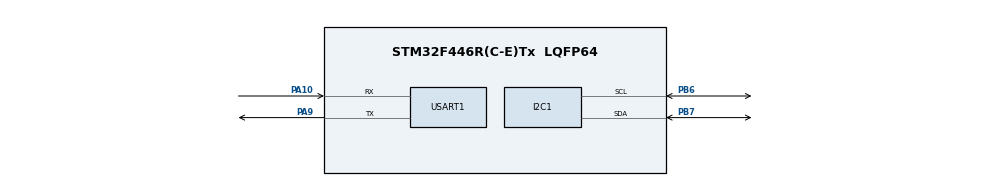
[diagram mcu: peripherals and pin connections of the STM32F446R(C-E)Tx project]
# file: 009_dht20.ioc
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Dma.I2C1_RX.0.Direction=DMA_PERIPH_TO_MEMORY
Dma.I2C1_RX.0.FIFOMode=DMA_FIFOMODE_DISABLE
Dma.I2C1_RX.0.Instance=DMA1_Stream0
Dma.I2C1_RX.0.MemDataAlignment=DMA_MDATAALIGN_BYTE
Dma.I2C1_RX.0.MemInc=DMA_MINC_ENABLE
Dma.I2C1_RX.0.Mode=DMA_NORMAL
Dma.I2C1_RX.0.PeriphDataAlignment=DMA_PDATAALIGN_BYTE
Dma.I2C1_RX.0.PeriphInc=DMA_PINC_DISABLE
Dma.I2C1_RX.0.Priority=DMA_PRIORITY_LOW
Dma.I2C1_TX.1.Direction=DMA_MEMORY_TO_PERIPH
Dma.I2C1_TX.1.FIFOMode=DMA_FIFOMODE_DISABLE
Dma.I2C1_TX.1.Instance=DMA1_Stream6
Dma.I2C1_TX.1.MemDataAlignment=DMA_MDATAALIGN_BYTE
Dma.I2C1_TX.1.MemInc=DMA_MINC_ENABLE
Dma.I2C1_TX.1.Mode=DMA_NORMAL
Dma.I2C1_TX.1.PeriphDataAlignment=DMA_PDATAALIGN_BYTE
Dma.I2C1_TX.1.PeriphInc=DMA_PINC_DISABLE
Dma.I2C1_TX.1.Priority=DMA_PRIORITY_LOW
Dma.Request0=I2C1_RX
Dma.Request1=I2C1_TX
Mcu.Family=STM32F4
Mcu.Name=STM32F446R(C-E)Tx
Mcu.Package=LQFP64
NVIC.DMA1_Stream0_IRQn=true\:0\:0\:false\:false\:true\:false\:true\:true
NVIC.DMA1_Stream6_IRQn=true\:0\:0\:false\:false\:true\:false\:true\:true
NVIC.I2C1_ER_IRQn=true\:0\:0\:false\:false\:true\:true\:true\:true
NVIC.I2C1_EV_IRQn=true\:0\:0\:false\:false\:true\:true\:true\:true
NVIC.PriorityGroup=NVIC_PRIORITYGROUP_4
NVIC.USART1_IRQn=true\:0\:0\:false\:false\:true\:true\:true\:true
PA10.Mode=Asynchronous
PA10.Signal=USART1_RX
PA9.Mode=Asynchronous
PA9.Signal=USART1_TX
PB6.Mode=I2C
PB6.Signal=I2C1_SCL
PB7.Mode=I2C
PB7.Signal=I2C1_SDA
ProjectManager.HeapSize=0x200
ProjectManager.StackSize=0x400
ProjectManager.TargetToolchain=STM32CubeIDE
RCC.CortexFreq_Value=16000000
RCC.USBFreq_Value=96000000
RCC.VCOOutputFreq_Value=192000000
USART1.VirtualMode=VM_ASYNC
board=custom

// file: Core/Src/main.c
/* USER CODE BEGIN Header */
/**
  ******************************************************************************
  * @file           : main.c
  * @brief          : Main program body
  ******************************************************************************
  * @attention
  *
  * Copyright (c) 2025 STMicroelectronics.
  * All rights reserved.
  *
  * This software is licensed under terms that can be found in the LICENSE file
  * in the root directory of this software component.
  * If no LICENSE file comes with this software, it is provided AS-IS.
  *
  ******************************************************************************
  */
/* USER CODE END Header */
#include "main.h"

/* USER CODE BEGIN Includes */
#include "driver_dht20.h"
#include "driver_dht20_interface.h"
/* USER CODE END Includes */

I2C_HandleTypeDef hi2c1;
DMA_HandleTypeDef hdma_i2c1_rx;
DMA_HandleTypeDef hdma_i2c1_tx;

UART_HandleTypeDef huart1;

/* USER CODE BEGIN PV */
RingBuffer txBuf, rxBuf;
dht20_handle_t dht20_handle;
/* USER CODE END PV */

void SystemClock_Config(void);
static void MX_GPIO_Init(void);
static void MX_DMA_Init(void);
static void MX_I2C1_Init(void);
static void MX_USART1_UART_Init(void);
/* USER CODE BEGIN PFP */
uint8_t dht20_basic_init(void);
uint8_t dht20_basic_deinit(void);
uint8_t dht20_basic_read(uint32_t *temperature_raw, float *temperature_s,
		uint32_t *humidity_raw, uint8_t *humidity_s);
/* USER CODE END PFP */

int main(void)
{

  /* USER CODE BEGIN 1 */
	  uint32_t temperature_raw, humidity_raw;
	  float temperature_s;
	  uint8_t humidity_s;
	  uint8_t res;
	  uint32_t last_read_time = 0;
  /* USER CODE END 1 */

  /* MCU Configuration--------------------------------------------------------*/

  /* Reset of all peripherals, Initializes the Flash interface and the Systick. */
  HAL_Init();

  /* Configure the system clock */
  SystemClock_Config();

  /* Initialize all configured peripherals */
  MX_GPIO_Init();
  MX_DMA_Init();
  MX_I2C1_Init();
  MX_USART1_UART_Init();
  /* USER CODE BEGIN 2 */

  RingBuffer_Init(&txBuf);
  RingBuffer_Init(&rxBuf);

  dht20_interface_debug_print("\r\n=== DHT20 Temperature & Humidity Sensor ===\r\n");
  dht20_interface_debug_print("Initializing DHT20...\r\n");

  /* init DHT20 */
  res = dht20_basic_init();
  if (res != 0)
  {
    dht20_interface_debug_print("DHT20 initialization failed!\r\n");
    Error_Handler();
  }

  dht20_interface_debug_print("DHT20 initialized successfully!\r\n");
  dht20_interface_debug_print("Starting measurements...\r\n\r\n");
  /* USER CODE END 2 */

  /* Infinite loop */
  /* USER CODE BEGIN WHILE */
  while (1)
  {
	  /* read DHT20 every 2 seconds */
	  if (HAL_GetTick() - last_read_time >= 2000)
	  {
		  last_read_time = HAL_GetTick();

		  res = dht20_basic_read(&temperature_raw, &temperature_s, &humidity_raw, &humidity_s);

		  if (res == 0)
		  {
			  dht20_interface_debug_print("--- DHT20 Reading ---\r\n");
			  dht20_interface_debug_print("Temperature: %.2f°C (Raw: %lu)\r\n",
					  temperature_s, (unsigned long)temperature_raw);
			  dht20_interface_debug_print("Humidity: %d%% (Raw: %lu)\r\n",
					  humidity_s, (unsigned long)humidity_raw);
			  dht20_interface_debug_print("Timestamp: %lu ms\r\n\r\n",
					  (unsigned long)HAL_GetTick());
		  }
		  else
		  {
			  dht20_interface_debug_print("DHT20 read failed! Error code: %d\r\n\r\n", res);
		  }
	  }

	  HAL_Delay(10);
    /* USER CODE END WHILE */

  }
}

void SystemClock_Config(void)
{
  RCC_OscInitTypeDef RCC_OscInitStruct = {0};
  RCC_ClkInitTypeDef RCC_ClkInitStruct = {0};

  /** Configure the main internal regulator output voltage
  */
  __HAL_RCC_PWR_CLK_ENABLE();
  __HAL_PWR_VOLTAGESCALING_CONFIG(PWR_REGULATOR_VOLTAGE_SCALE3);

  /** Initializes the RCC Oscillators according to the specified parameters
  * in the RCC_OscInitTypeDef structure.
  */
  RCC_OscInitStruct.OscillatorType = RCC_OSCILLATORTYPE_HSI;
  RCC_OscInitStruct.HSIState = RCC_HSI_ON;
  RCC_OscInitStruct.HSICalibrationValue = RCC_HSICALIBRATION_DEFAULT;
  RCC_OscInitStruct.PLL.PLLState = RCC_PLL_NONE;
  if (HAL_RCC_OscConfig(&RCC_OscInitStruct) != HAL_OK)
  {
    Error_Handler();
  }

  /** Initializes the CPU, AHB and APB buses clocks
  */
  RCC_ClkInitStruct.ClockType = RCC_CLOCKTYPE_HCLK|RCC_CLOCKTYPE_SYSCLK
                              |RCC_CLOCKTYPE_PCLK1|RCC_CLOCKTYPE_PCLK2;
  RCC_ClkInitStruct.SYSCLKSource = RCC_SYSCLKSOURCE_HSI;
  RCC_ClkInitStruct.AHBCLKDivider = RCC_SYSCLK_DIV1;
  RCC_ClkInitStruct.APB1CLKDivider = RCC_HCLK_DIV1;
  RCC_ClkInitStruct.APB2CLKDivider = RCC_HCLK_DIV1;

  if (HAL_RCC_ClockConfig(&RCC_ClkInitStruct, FLASH_LATENCY_0) != HAL_OK)
  {
    Error_Handler();
  }
}

static void MX_I2C1_Init(void)
{

  hi2c1.Instance = I2C1;
  hi2c1.Init.ClockSpeed = 100000;
  hi2c1.Init.DutyCycle = I2C_DUTYCYCLE_2;
  hi2c1.Init.OwnAddress1 = 0;
  hi2c1.Init.AddressingMode = I2C_ADDRESSINGMODE_7BIT;
  hi2c1.Init.DualAddressMode = I2C_DUALADDRESS_DISABLE;
  hi2c1.Init.OwnAddress2 = 0;
  hi2c1.Init.GeneralCallMode = I2C_GENERALCALL_DISABLE;
  hi2c1.Init.NoStretchMode = I2C_NOSTRETCH_DISABLE;
  if (HAL_I2C_Init(&hi2c1) != HAL_OK)
  {
    Error_Handler();
  }

}

static void MX_USART1_UART_Init(void)
{

  huart1.Instance = USART1;
  huart1.Init.BaudRate = 115200;
  huart1.Init.WordLength = UART_WORDLENGTH_8B;
  huart1.Init.StopBits = UART_STOPBITS_1;
  huart1.Init.Parity = UART_PARITY_NONE;
  huart1.Init.Mode = UART_MODE_TX_RX;
  huart1.Init.HwFlowCtl = UART_HWCONTROL_NONE;
  huart1.Init.OverSampling = UART_OVERSAMPLING_16;
  if (HAL_UART_Init(&huart1) != HAL_OK)
  {
    Error_Handler();
  }

}

static void MX_DMA_Init(void)
{

  /* DMA controller clock enable */
  __HAL_RCC_DMA1_CLK_ENABLE();

  /* DMA interrupt init */
  /* DMA1_Stream0_IRQn interrupt configuration */
  HAL_NVIC_SetPriority(DMA1_Stream0_IRQn, 0, 0);
  HAL_NVIC_EnableIRQ(DMA1_Stream0_IRQn);
  /* DMA1_Stream6_IRQn interrupt configuration */
  HAL_NVIC_SetPriority(DMA1_Stream6_IRQn, 0, 0);
  HAL_NVIC_EnableIRQ(DMA1_Stream6_IRQn);

}

static void MX_GPIO_Init(void)
{

  /* GPIO Ports Clock Enable */
  __HAL_RCC_GPIOA_CLK_ENABLE();
  __HAL_RCC_GPIOB_CLK_ENABLE();

}

/* USER CODE BEGIN 4 */
uint8_t UART_Transmit(UART_HandleTypeDef *huart, uint8_t *pData, uint16_t len)
{
  if (huart->gState == HAL_UART_STATE_READY)
  {
    if (HAL_UART_Transmit_IT(huart, pData, len) == HAL_OK)
    {
      return 1;
    }
  }

  // If UART is busy, store in ring buffer
  if (RingBuffer_Write(&txBuf, pData, len) == RING_BUFFER_OK)
  {
    return 1;
  }

  return 0;
}

uint8_t dht20_basic_init(void)
{
    uint8_t res;

    /* link interface function */
    DRIVER_DHT20_LINK_INIT(&dht20_handle, dht20_handle_t);
    DRIVER_DHT20_LINK_IIC_INIT(&dht20_handle, dht20_interface_iic_init);
    DRIVER_DHT20_LINK_IIC_DEINIT(&dht20_handle, dht20_interface_iic_deinit);
    DRIVER_DHT20_LINK_IIC_READ_CMD(&dht20_handle, dht20_interface_iic_read_cmd);
    DRIVER_DHT20_LINK_IIC_WRITE_CMD(&dht20_handle, dht20_interface_iic_write_cmd);
    DRIVER_DHT20_LINK_DELAY_MS(&dht20_handle, dht20_interface_delay_ms);
    DRIVER_DHT20_LINK_DEBUG_PRINT(&dht20_handle, dht20_interface_debug_print);

    /* dht20 init */
    res = dht20_init(&dht20_handle);
    if (res != 0)
    {
        dht20_interface_debug_print("dht20: init failed.\n");
        return 1;
    }

    return 0;
}

uint8_t dht20_basic_deinit(void)
{
    uint8_t res;

    /* close dht20 */
    res = dht20_deinit(&dht20_handle);
    if (res != 0)
    {
        return 1;
    }

    return 0;
}

uint8_t dht20_basic_read(uint32_t *temperature_raw, float *temperature_s,
		uint32_t *humidity_raw, uint8_t *humidity_s)
{
    uint8_t res;

    /* read temperature and humidity */
    res = dht20_read_temperature_humidity(&dht20_handle, temperature_raw, temperature_s,
                                          humidity_raw, humidity_s);
    if (res != 0)
    {
        return 1;
    }

    return 0;
}
/* USER CODE END 4 */

void Error_Handler(void)
{
  __disable_irq();
  while (1)
  {
  }
}
